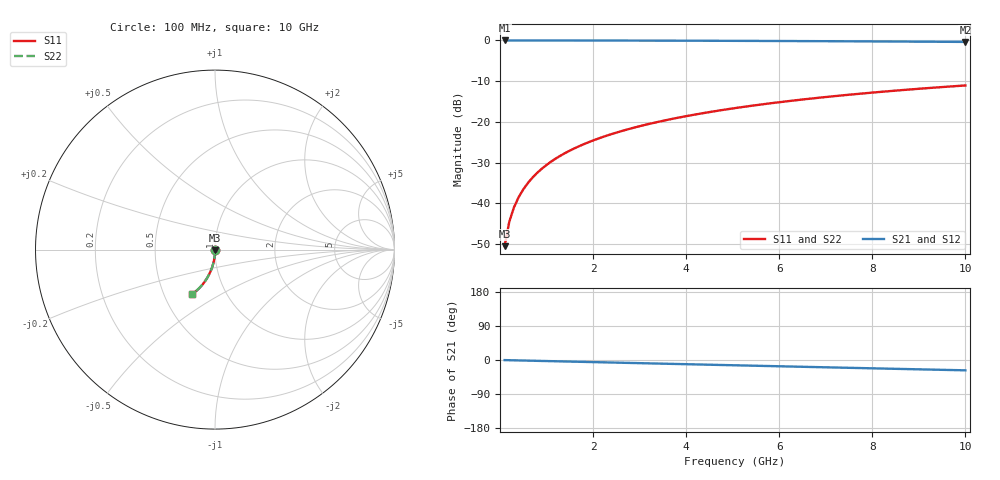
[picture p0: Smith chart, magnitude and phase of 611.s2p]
# Hz S RI R 50.00
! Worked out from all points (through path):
!   100 points, 100 MHz to 10 GHz, reference 50 ohm
!   highest |S21| = 0.00 dB at 100 MHz (marker M1); lowest = -0.4 dB at 10 GHz (marker M2)
!   group delay of S21, straight-line fit = 7.59 ps
!   lowest |S11| = -50.5 dB at 100 MHz (marker M3), VSWR 1.01, Z = 50 - j0.296 ohm
!   |S11| at or under -10 dB: start of sweep to end of sweep
!   |S22| runs from -50.5 to -11.1 dB; largest |S21 - S12| = 0
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1e8  0.000303 -0.00296  0.9997 -0.00484  0.9997 -0.00484  0.000303 -0.00296
2e8  0.000258 -0.00592  0.9996 -0.00967  0.9996 -0.00967  0.000258 -0.00592
3e8  0.000185 -0.00887  0.9995 -0.0145  0.9995 -0.0145  0.000185 -0.00887
4e8  8.21e-05 -0.0118  0.9994 -0.0193  0.9994 -0.0193  8.21e-05 -0.0118
5e8  -4.92e-05 -0.0148  0.9993 -0.0242  0.9993 -0.0242  -4.92e-05 -0.0148
6e8  -0.000209 -0.0177  0.9991 -0.029  0.9991 -0.029  -0.000209 -0.0177
7e8  -0.000398 -0.0207  0.9989 -0.0338  0.9989 -0.0338  -0.000398 -0.0207
8e8  -0.000615 -0.0236  0.9986 -0.0387  0.9986 -0.0387  -0.000615 -0.0236
9e8  -0.000861 -0.0266  0.9983 -0.0435  0.9983 -0.0435  -0.000861 -0.0266
1.1e9  -0.00144 -0.0325  0.9977 -0.0531  0.9977 -0.0531  -0.00144 -0.0325
1.4e9  -0.00252 -0.0413  0.9965 -0.0676  0.9965 -0.0676  -0.00252 -0.0413
1.8e9  -0.00436 -0.053  0.9944 -0.0868  0.9944 -0.0868  -0.00436 -0.053
2.1e9  -0.00603 -0.0617  0.9925 -0.1012  0.9925 -0.1012  -0.00603 -0.0617
2.5e9  -0.00865 -0.0732  0.9896 -0.1202  0.9896 -0.1202  -0.00865 -0.0732
2.9e9  -0.0117 -0.0847  0.9861 -0.1392  0.9861 -0.1392  -0.0117 -0.0847
3.4e9  -0.0162 -0.0987  0.9811 -0.1627  0.9811 -0.1627  -0.0162 -0.0987
4.2e9  -0.0246 -0.1207  0.9715 -0.1998  0.9715 -0.1998  -0.0246 -0.1207
5.1e9  -0.0361 -0.1445  0.9585 -0.2407  0.9585 -0.2407  -0.0361 -0.1445
5.9e9  -0.0479 -0.1647  0.9451 -0.2761  0.9451 -0.2761  -0.0479 -0.1647
6.7e9  -0.0612 -0.1837  0.93 -0.3104  0.93 -0.3104  -0.0612 -0.1837
8.4e9  -0.0935 -0.2202  0.8929 -0.3796  0.8929 -0.3796  -0.0935 -0.2202
1e10  -0.1282 -0.249  0.8527 -0.4393  0.8527 -0.4393  -0.1282 -0.249
